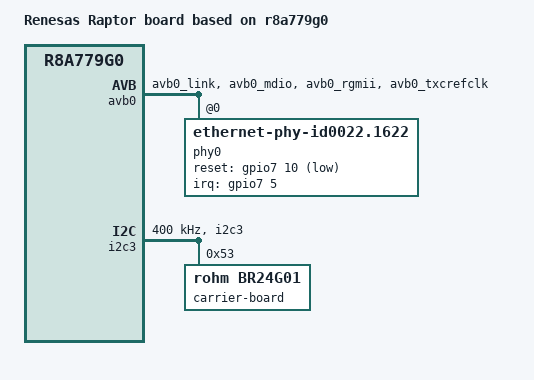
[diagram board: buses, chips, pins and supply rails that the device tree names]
// SPDX-License-Identifier: GPL-2.0
/*
 * Device Tree Source for the Raptor board with R-Car V4H
 *
 * Copyright (C) 2021 Renesas Electronics Corp.
 */

/dts-v1/;
#include "r8a779g0-raptor-cpu.dtsi"

/ {
	model = "Renesas Raptor board based on r8a779g0";
	compatible = "renesas,raptor-cpu", "renesas,r8a779g0";

	aliases {
		ethernet0 = &avb0;
	};

	reserved-memory {
                #address-cells = <2>;
                #size-cells = <2>;
                ranges;

		cr_region: linux,cr_region@60000000 {
			no-map;
			reg = <0x00000000 0x60000000 0x0 0x20000000>;
		};
	};
};

&pfc {
    i2c3_pins: i2c3 {
		groups = "i2c3";
		function = "i2c3";
	};
	
	avb0_pins: avb0 {
		mux {
			groups = "avb0_link", "avb0_mdio", "avb0_rgmii",
				 "avb0_txcrefclk";
			function = "avb0";
		};

		pins_mdio {
			groups = "avb0_mdio";
			drive-strength = <21>;
		};

		pins_mii {
			groups = "avb0_rgmii";
			drive-strength = <21>;
		};

	};
};

&avb0 {
	pinctrl-0 = <&avb0_pins>;
	pinctrl-names = "default";
	phy-handle = <&phy0>;
	tx-internal-delay-ps = <2000>;
	status = "okay";

	phy0: ethernet-phy@0 {
		compatible = "ethernet-phy-id0022.1622",
			     "ethernet-phy-ieee802.3-c22";
		rxc-skew-ps = <1500>;
		reg = <0>;
		interrupt-parent = <&gpio7>;
		interrupts = <5 IRQ_TYPE_LEVEL_LOW>;
		reset-gpios = <&gpio7 10 GPIO_ACTIVE_LOW>;
	};
};

/*
 * I2C3 Function :
 * enable i2c3 and define eeprom
 */
&i2c3 {
    pinctrl-0 = <&i2c3_pins>;
	pinctrl-names = "default";

	status = "okay";
	clock-frequency = <400000>;
	
	eeprom@53 {
		compatible = "rohm,br24g01", "atmel,24c01";
		label = "carrier-board";
		reg = <0x53>;
		pagesize = <8>;
	};
};


